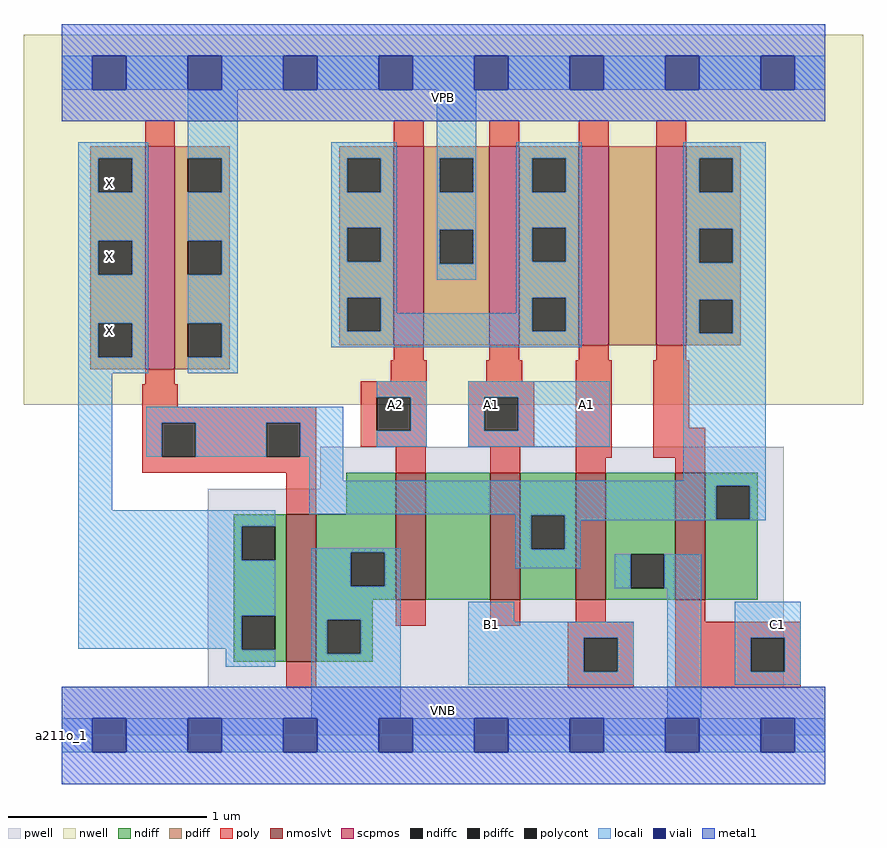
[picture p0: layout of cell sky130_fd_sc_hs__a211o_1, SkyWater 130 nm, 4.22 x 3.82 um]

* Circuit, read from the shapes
.subckt sky130_fd_sc_hs__a211o_1 A1 A2 B1 C1 VGND VNB VPB VPWR X
XM1 VGND n1 X VNB sky130_fd_pr__nfet_01v8_lvt w=0.74 l=0.15
XM2 n2 A2 VGND VNB sky130_fd_pr__nfet_01v8_lvt w=0.64 l=0.15
XM3 n1 A1 n2 VNB sky130_fd_pr__nfet_01v8_lvt w=0.64 l=0.15
XM4 VGND B1 n1 VNB sky130_fd_pr__nfet_01v8_lvt w=0.64 l=0.15
XM5 n1 C1 VGND VNB sky130_fd_pr__nfet_01v8_lvt w=0.64 l=0.15
XM6 VPWR n1 X VPB sky130_fd_pr__pfet_01v8 w=1.12 l=0.15
XM7 VPWR A2 n3 VPB sky130_fd_pr__pfet_01v8 w=1 l=0.15
XM8 n3 A1 VPWR VPB sky130_fd_pr__pfet_01v8 w=1 l=0.15
XM9 n4 B1 n3 VPB sky130_fd_pr__pfet_01v8 w=1 l=0.15
XM10 n1 C1 n4 VPB sky130_fd_pr__pfet_01v8 w=1 l=0.15
.ends

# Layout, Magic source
magic
tech sky130A
magscale 1 2
<< nwell >>
rect -38 332 806 704
<< pwell >>
rect 260 248 726 290
rect 147 49 726 248
rect 0 0 768 49
<< scpmos >>
rect 84 368 114 592
rect 334 392 364 592
rect 430 392 460 592
rect 520 392 550 592
rect 598 392 628 592
<< nmoslvt >>
rect 226 74 256 222
rect 336 136 366 264
rect 431 136 461 264
rect 517 136 547 264
rect 617 136 647 264
<< ndiff >>
rect 286 222 336 264
rect 173 210 226 222
rect 173 176 181 210
rect 215 176 226 210
rect 173 120 226 176
rect 173 86 181 120
rect 215 86 226 120
rect 173 74 226 86
rect 256 184 336 222
rect 256 150 291 184
rect 325 150 336 184
rect 256 136 336 150
rect 366 136 431 264
rect 461 221 517 264
rect 461 187 472 221
rect 506 187 517 221
rect 461 136 517 187
rect 547 182 617 264
rect 547 148 572 182
rect 606 148 617 182
rect 547 136 617 148
rect 647 251 700 264
rect 647 217 658 251
rect 692 217 700 251
rect 647 136 700 217
rect 256 116 313 136
rect 256 82 267 116
rect 301 82 313 116
rect 256 74 313 82
<< pdiff >>
rect 29 580 84 592
rect 29 546 37 580
rect 71 546 84 580
rect 29 497 84 546
rect 29 463 37 497
rect 71 463 84 497
rect 29 414 84 463
rect 29 380 37 414
rect 71 380 84 414
rect 29 368 84 380
rect 114 580 169 592
rect 114 546 127 580
rect 161 546 169 580
rect 114 497 169 546
rect 114 463 127 497
rect 161 463 169 497
rect 114 414 169 463
rect 114 380 127 414
rect 161 380 169 414
rect 279 580 334 592
rect 279 546 287 580
rect 321 546 334 580
rect 279 510 334 546
rect 279 476 287 510
rect 321 476 334 510
rect 279 440 334 476
rect 279 406 287 440
rect 321 406 334 440
rect 279 392 334 406
rect 364 580 430 592
rect 364 546 380 580
rect 414 546 430 580
rect 364 508 430 546
rect 364 474 380 508
rect 414 474 430 508
rect 364 392 430 474
rect 460 580 520 592
rect 460 546 473 580
rect 507 546 520 580
rect 460 510 520 546
rect 460 476 473 510
rect 507 476 520 510
rect 460 440 520 476
rect 460 406 473 440
rect 507 406 520 440
rect 460 392 520 406
rect 550 392 598 592
rect 628 580 683 592
rect 628 546 641 580
rect 675 546 683 580
rect 628 509 683 546
rect 628 475 641 509
rect 675 475 683 509
rect 628 438 683 475
rect 628 404 641 438
rect 675 404 683 438
rect 628 392 683 404
rect 114 368 169 380
<< ndiffc >>
rect 181 176 215 210
rect 181 86 215 120
rect 291 150 325 184
rect 472 187 506 221
rect 572 148 606 182
rect 658 217 692 251
rect 267 82 301 116
<< pdiffc >>
rect 37 546 71 580
rect 37 463 71 497
rect 37 380 71 414
rect 127 546 161 580
rect 127 463 161 497
rect 127 380 161 414
rect 287 546 321 580
rect 287 476 321 510
rect 287 406 321 440
rect 380 546 414 580
rect 380 474 414 508
rect 473 546 507 580
rect 473 476 507 510
rect 473 406 507 440
rect 641 546 675 580
rect 641 475 675 509
rect 641 404 675 438
<< poly >>
rect 84 592 114 618
rect 334 592 364 618
rect 430 592 460 618
rect 520 592 550 618
rect 598 592 628 618
rect 334 377 364 392
rect 430 377 460 392
rect 520 377 550 392
rect 598 377 628 392
rect 84 353 114 368
rect 331 356 367 377
rect 427 356 463 377
rect 81 330 117 353
rect 301 340 367 356
rect 81 314 256 330
rect 81 280 101 314
rect 135 280 206 314
rect 240 280 256 314
rect 301 306 317 340
rect 351 306 367 340
rect 301 290 367 306
rect 409 340 475 356
rect 409 306 425 340
rect 459 306 475 340
rect 409 290 475 306
rect 81 264 256 280
rect 336 264 366 290
rect 431 264 461 290
rect 517 279 553 377
rect 595 309 631 377
rect 595 279 647 309
rect 517 264 547 279
rect 617 264 647 279
rect 226 222 256 264
rect 336 110 366 136
rect 431 110 461 136
rect 517 114 547 136
rect 617 114 647 136
rect 509 98 575 114
rect 226 48 256 74
rect 509 64 525 98
rect 559 64 575 98
rect 509 48 575 64
rect 617 98 743 114
rect 617 64 693 98
rect 727 64 743 98
rect 617 48 743 64
<< polycont >>
rect 101 280 135 314
rect 206 280 240 314
rect 317 306 351 340
rect 425 306 459 340
rect 525 64 559 98
rect 693 64 727 98
<< locali >>
rect 0 649 31 683
rect 65 649 127 683
rect 161 649 223 683
rect 257 649 319 683
rect 353 649 415 683
rect 449 649 511 683
rect 545 649 607 683
rect 641 649 703 683
rect 737 649 768 683
rect 17 580 87 596
rect 17 546 37 580
rect 71 546 87 580
rect 17 497 87 546
rect 17 463 37 497
rect 71 463 87 497
rect 17 414 87 463
rect 17 380 37 414
rect 71 380 87 414
rect 17 364 87 380
rect 127 580 177 649
rect 161 546 177 580
rect 127 497 177 546
rect 161 463 177 497
rect 127 414 177 463
rect 161 380 177 414
rect 271 580 337 596
rect 271 546 287 580
rect 321 546 337 580
rect 271 510 337 546
rect 271 476 287 510
rect 321 476 337 510
rect 271 440 337 476
rect 377 580 417 649
rect 377 546 380 580
rect 414 546 417 580
rect 377 508 417 546
rect 377 474 380 508
rect 414 474 417 508
rect 377 458 417 474
rect 457 580 523 596
rect 457 546 473 580
rect 507 546 523 580
rect 457 510 523 546
rect 457 476 473 510
rect 507 476 523 510
rect 271 406 287 440
rect 321 424 337 440
rect 457 440 523 476
rect 457 424 473 440
rect 321 406 473 424
rect 507 406 523 440
rect 271 390 523 406
rect 625 580 708 596
rect 625 546 641 580
rect 675 546 708 580
rect 625 509 708 546
rect 625 475 641 509
rect 675 475 708 509
rect 625 438 708 475
rect 625 404 641 438
rect 675 404 708 438
rect 127 364 177 380
rect 17 226 51 364
rect 317 340 367 356
rect 85 314 283 330
rect 85 280 101 314
rect 135 280 206 314
rect 240 280 283 314
rect 351 306 367 340
rect 317 290 367 306
rect 409 340 551 356
rect 409 306 425 340
rect 459 306 551 340
rect 409 290 551 306
rect 249 256 283 280
rect 625 256 708 404
rect 249 251 708 256
rect 17 210 215 226
rect 249 222 658 251
rect 17 176 181 210
rect 456 221 658 222
rect 17 120 215 176
rect 17 87 181 120
rect 165 86 181 87
rect 165 69 215 86
rect 251 184 341 188
rect 251 150 291 184
rect 325 150 341 184
rect 456 187 472 221
rect 506 217 658 221
rect 692 217 708 251
rect 506 216 708 217
rect 506 187 522 216
rect 456 168 522 187
rect 251 116 341 150
rect 556 148 572 182
rect 606 148 643 182
rect 251 82 267 116
rect 301 82 341 116
rect 251 17 341 82
rect 409 114 455 134
rect 409 98 575 114
rect 409 64 525 98
rect 559 64 575 98
rect 409 51 575 64
rect 609 17 643 148
rect 677 98 743 134
rect 677 64 693 98
rect 727 64 743 98
rect 677 51 743 64
rect 0 -17 31 17
rect 65 -17 127 17
rect 161 -17 223 17
rect 257 -17 319 17
rect 353 -17 415 17
rect 449 -17 511 17
rect 545 -17 607 17
rect 641 -17 703 17
rect 737 -17 768 17
<< viali >>
rect 31 649 65 683
rect 127 649 161 683
rect 223 649 257 683
rect 319 649 353 683
rect 415 649 449 683
rect 511 649 545 683
rect 607 649 641 683
rect 703 649 737 683
rect 31 -17 65 17
rect 127 -17 161 17
rect 223 -17 257 17
rect 319 -17 353 17
rect 415 -17 449 17
rect 511 -17 545 17
rect 607 -17 641 17
rect 703 -17 737 17
<< metal1 >>
rect 0 683 768 715
rect 0 649 31 683
rect 65 649 127 683
rect 161 649 223 683
rect 257 649 319 683
rect 353 649 415 683
rect 449 649 511 683
rect 545 649 607 683
rect 641 649 703 683
rect 737 649 768 683
rect 0 617 768 649
rect 0 17 768 49
rect 0 -17 31 17
rect 65 -17 127 17
rect 161 -17 223 17
rect 257 -17 319 17
rect 353 -17 415 17
rect 449 -17 511 17
rect 545 -17 607 17
rect 641 -17 703 17
rect 737 -17 768 17
rect 0 -49 768 -17
<< labels >>
rlabel comment s 0 0 0 0 4 a211o_1
flabel pwell s 0 0 768 49 0 FreeSans 200 0 0 0 VNB
port 6 nsew ground bidirectional
flabel nwell s 0 617 768 666 0 FreeSans 200 0 0 0 VPB
port 7 nsew power bidirectional
flabel metal1 s 0 617 768 666 0 FreeSans 340 0 0 0 VPWR
port 8 nsew power bidirectional
flabel metal1 s 0 0 768 49 0 FreeSans 340 0 0 0 VGND
port 5 nsew ground bidirectional
flabel locali s 31 390 65 424 0 FreeSans 340 0 0 0 X
port 9 nsew signal output
flabel locali s 31 464 65 498 0 FreeSans 340 0 0 0 X
port 9 nsew signal output
flabel locali s 31 538 65 572 0 FreeSans 340 0 0 0 X
port 9 nsew signal output
flabel locali s 703 94 737 128 0 FreeSans 340 0 0 0 C1
port 4 nsew signal input
flabel locali s 415 94 449 128 0 FreeSans 340 0 0 0 B1
port 3 nsew signal input
flabel locali s 319 316 353 350 0 FreeSans 340 0 0 0 A2
port 2 nsew signal input
flabel locali s 415 316 449 350 0 FreeSans 340 0 0 0 A1
port 1 nsew signal input
flabel locali s 511 316 545 350 0 FreeSans 340 0 0 0 A1
port 1 nsew signal input
<< properties >>
string LEFsite unit
string LEFclass CORE
string FIXED_BBOX 0 0 768 666
string GDS_FILE $PDKPATH/libs.ref/sky130_fd_sc_hs/gds/sky130_fd_sc_hs.gds
string LEFsymmetry X Y
string GDS_END 1022716
string GDS_START 1015534
<< end >>
